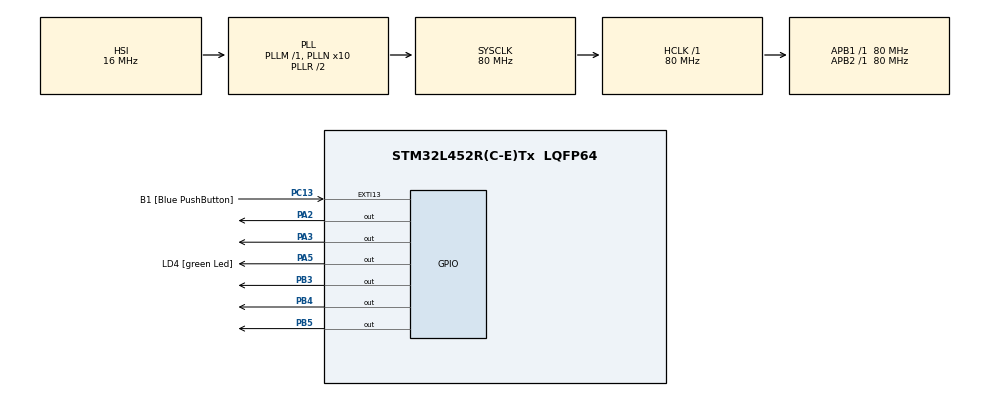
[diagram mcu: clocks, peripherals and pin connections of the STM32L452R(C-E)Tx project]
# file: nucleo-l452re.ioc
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Mcu.Family=STM32L4
Mcu.Name=STM32L452R(C-E)Tx
Mcu.Package=LQFP64
NVIC.PriorityGroup=NVIC_PRIORITYGROUP_4
PA13\ (JTMS/SWDIO).GPIO_Label=TMS
PA13\ (JTMS/SWDIO).Mode=Serial_Wire
PA13\ (JTMS/SWDIO).Signal=SYS_JTMS-SWDIO
PA14\ (JTCK/SWCLK).GPIO_Label=TCK
PA14\ (JTCK/SWCLK).Mode=Serial_Wire
PA14\ (JTCK/SWCLK).Signal=SYS_JTCK-SWCLK
PA2.Signal=GPIO_Output
PA3.Signal=GPIO_Output
PA5.GPIO_Label=LD4 [green Led]
PA5.GPIO_ModeDefaultOutputPP=GPIO_MODE_OUTPUT_PP
PA5.GPIO_PuPd=GPIO_NOPULL
PA5.GPIO_Speed=GPIO_SPEED_FREQ_LOW
PA5.Signal=GPIO_Output
PB3\ (JTDO/TRACESWO).Signal=GPIO_Output
PB4\ (NJTRST).Signal=GPIO_Output
PB5.Signal=GPIO_Output
PC13.GPIO_Label=B1 [Blue PushButton]
PC13.GPIO_ModeDefaultEXTI=GPIO_MODE_IT_FALLING
PC13.GPIO_PuPd=GPIO_NOPULL
PC13.Signal=GPXTI13
PC14-OSC32_IN\ (PC14).Mode=LSE-External-Oscillator
PC14-OSC32_IN\ (PC14).Signal=RCC_OSC32_IN
PC15-OSC32_OUT\ (PC15).Mode=LSE-External-Oscillator
PC15-OSC32_OUT\ (PC15).Signal=RCC_OSC32_OUT
PH0-OSC_IN\ (PH0).Signal=RCC_OSC_IN
PH1-OSC_OUT\ (PH1).Signal=RCC_OSC_OUT
ProjectManager.HeapSize=0x200
ProjectManager.StackSize=0x400
ProjectManager.TargetToolchain=Makefile
RCC.ADCFreq_Value=64000000
RCC.AHBFreq_Value=80000000
RCC.APB1Freq_Value=80000000
RCC.APB1TimFreq_Value=80000000
RCC.APB2Freq_Value=80000000
RCC.APB2TimFreq_Value=80000000
RCC.CortexFreq_Value=80000000
RCC.HCLKFreq_Value=80000000
RCC.HSE_VALUE=8000000
RCC.HSI48_VALUE=48000000
RCC.HSI_VALUE=16000000
RCC.MSI_VALUE=4000000
RCC.PLLN=10
RCC.PLLSourceVirtual=RCC_PLLSOURCE_HSI
RCC.PREFETCH_ENABLE=1
RCC.SYSCLKFreq_VALUE=80000000
RCC.SYSCLKSource=RCC_SYSCLKSOURCE_PLLCLK
RCC.USBFreq_Value=64000000
RCC.VCOOutputFreq_Value=160000000
board=NUCLEO-L452RE

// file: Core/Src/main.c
/* USER CODE BEGIN Header */
/**
  ******************************************************************************
  * @file           : main.c
  * @brief          : Main program body
  ******************************************************************************
  * @attention
  *
  * <h2><center>&copy; Copyright (c) 2021 STMicroelectronics.
  * All rights reserved.</center></h2>
  *
  * This software component is licensed by ST under BSD 3-Clause license,
  * the "License"; You may not use this file except in compliance with the
  * License. You may obtain a copy of the License at:
  *                        opensource.org/licenses/BSD-3-Clause
  *
  ******************************************************************************
  */
/* USER CODE END Header */
#include "main.h"

/* USER CODE BEGIN Includes */
#include "stm32l452xx.h"
#include "stm32l4xx_hal.h"

#include "stspin220.h"
#include "SEGGER_RTT.h"
/* USER CODE END Includes */

/* USER CODE BEGIN PM */
#define print(...) SEGGER_RTT_printf(0, __VA_ARGS__)
/* USER CODE END PM */

void SystemClock_Config(void);
static void MX_GPIO_Init(void);

int main(void)
{

  /* MCU Configuration--------------------------------------------------------*/

  /* Reset of all peripherals, Initializes the Flash interface and the Systick. */
  HAL_Init();

  /* Configure the system clock */
  SystemClock_Config();

  /* Initialize all configured peripherals */
  MX_GPIO_Init();
  /* USER CODE BEGIN 2 */

  /* Initial pins declarations */
  STSPIN220_PinsTypeDef myPin = {
    .pinStandbyResetPort    = GPIOB,
    .pinStandbyResetPin     = GPIO_PIN_4,
    .pinMode1Port           = GPIOA,
    .pinMode1Pin            = GPIO_PIN_3,
    .pinMode2Port           = GPIOA,
    .pinMode2Pin            = GPIO_PIN_2,
    .pinMode3StepClockPort  = GPIOB,
    .pinMode3StepClockPin   = GPIO_PIN_3,
    .pinMode4DirectionPort  = GPIOB,
    .pinMode4DirectionPin   = GPIO_PIN_5,
  };

  /* Initialize the stepper motor driver module */
  mySTSPIN220.api->init(&mySTSPIN220, &myPin, MODE_1P2_STEP);

  /* Check the step mode and the step period */
  print("Step Mode: %d\n", mySTSPIN220.api->getStepMode(&mySTSPIN220));
  print("Step Period: %d\n", mySTSPIN220.api->getStepPeriod(&mySTSPIN220));
  /* USER CODE END 2 */

  /* Infinite loop */
  while (1) {

    /* USER CODE BEGIN 3 */
    /* Run 4096 steps clockwise */
    mySTSPIN220.api->runSteps(&mySTSPIN220, DEFAULT_STEPS_PER_REV * 2, CLOCKWISE);

    /* Change the running direction */
    mySTSPIN220.api->setDirection(&mySTSPIN220, ~(mySTSPIN220.api->getDirection(&mySTSPIN220)));

    /* Run 4096 steps counter-clockwise */
    mySTSPIN220.api->runSteps(&mySTSPIN220, DEFAULT_STEPS_PER_REV * 2, mySTSPIN220.api->getDirection(&mySTSPIN220));

    /* Set the new step mode */
    mySTSPIN220.api->setStepMode(&mySTSPIN220, MODE_FULL_STEP);

    /* Run 7 revolutions */
    mySTSPIN220.api->runRevolutions(&mySTSPIN220, 7, mySTSPIN220.api->getDirection(&mySTSPIN220));

    /* Do nothing infinitely */
    while (1) {
      HAL_Delay(1000);
    }
  }
  /* USER CODE END 3 */
}

void SystemClock_Config(void)
{
  RCC_OscInitTypeDef RCC_OscInitStruct = {0};
  RCC_ClkInitTypeDef RCC_ClkInitStruct = {0};

  /** Initializes the RCC Oscillators according to the specified parameters
  * in the RCC_OscInitTypeDef structure.
  */
  RCC_OscInitStruct.OscillatorType = RCC_OSCILLATORTYPE_HSI;
  RCC_OscInitStruct.HSIState = RCC_HSI_ON;
  RCC_OscInitStruct.HSICalibrationValue = RCC_HSICALIBRATION_DEFAULT;
  RCC_OscInitStruct.PLL.PLLState = RCC_PLL_ON;
  RCC_OscInitStruct.PLL.PLLSource = RCC_PLLSOURCE_HSI;
  RCC_OscInitStruct.PLL.PLLM = 1;
  RCC_OscInitStruct.PLL.PLLN = 10;
  RCC_OscInitStruct.PLL.PLLP = RCC_PLLP_DIV7;
  RCC_OscInitStruct.PLL.PLLQ = RCC_PLLQ_DIV2;
  RCC_OscInitStruct.PLL.PLLR = RCC_PLLR_DIV2;
  if (HAL_RCC_OscConfig(&RCC_OscInitStruct) != HAL_OK)
  {
    Error_Handler();
  }
  /** Initializes the CPU, AHB and APB buses clocks
  */
  RCC_ClkInitStruct.ClockType = RCC_CLOCKTYPE_HCLK|RCC_CLOCKTYPE_SYSCLK
                              |RCC_CLOCKTYPE_PCLK1|RCC_CLOCKTYPE_PCLK2;
  RCC_ClkInitStruct.SYSCLKSource = RCC_SYSCLKSOURCE_PLLCLK;
  RCC_ClkInitStruct.AHBCLKDivider = RCC_SYSCLK_DIV1;
  RCC_ClkInitStruct.APB1CLKDivider = RCC_HCLK_DIV1;
  RCC_ClkInitStruct.APB2CLKDivider = RCC_HCLK_DIV1;

  if (HAL_RCC_ClockConfig(&RCC_ClkInitStruct, FLASH_LATENCY_4) != HAL_OK)
  {
    Error_Handler();
  }
  /** Configure the main internal regulator output voltage
  */
  if (HAL_PWREx_ControlVoltageScaling(PWR_REGULATOR_VOLTAGE_SCALE1) != HAL_OK)
  {
    Error_Handler();
  }
}

static void MX_GPIO_Init(void)
{
  GPIO_InitTypeDef GPIO_InitStruct = {0};

  /* GPIO Ports Clock Enable */
  __HAL_RCC_GPIOC_CLK_ENABLE();
  __HAL_RCC_GPIOH_CLK_ENABLE();
  __HAL_RCC_GPIOA_CLK_ENABLE();
  __HAL_RCC_GPIOB_CLK_ENABLE();

  /*Configure GPIO pin Output Level */
  HAL_GPIO_WritePin(GPIOA, GPIO_PIN_2|GPIO_PIN_3|LD4_Pin, GPIO_PIN_RESET);

  /*Configure GPIO pin Output Level */
  HAL_GPIO_WritePin(GPIOB, GPIO_PIN_3|GPIO_PIN_4|GPIO_PIN_5, GPIO_PIN_RESET);

  /*Configure GPIO pin : B1_Pin */
  GPIO_InitStruct.Pin = B1_Pin;
  GPIO_InitStruct.Mode = GPIO_MODE_IT_FALLING;
  GPIO_InitStruct.Pull = GPIO_NOPULL;
  HAL_GPIO_Init(B1_GPIO_Port, &GPIO_InitStruct);

  /*Configure GPIO pins : PA2 PA3 LD4_Pin */
  GPIO_InitStruct.Pin = GPIO_PIN_2|GPIO_PIN_3|LD4_Pin;
  GPIO_InitStruct.Mode = GPIO_MODE_OUTPUT_PP;
  GPIO_InitStruct.Pull = GPIO_NOPULL;
  GPIO_InitStruct.Speed = GPIO_SPEED_FREQ_LOW;
  HAL_GPIO_Init(GPIOA, &GPIO_InitStruct);

  /*Configure GPIO pins : PB3 PB4 PB5 */
  GPIO_InitStruct.Pin = GPIO_PIN_3|GPIO_PIN_4|GPIO_PIN_5;
  GPIO_InitStruct.Mode = GPIO_MODE_OUTPUT_PP;
  GPIO_InitStruct.Pull = GPIO_NOPULL;
  GPIO_InitStruct.Speed = GPIO_SPEED_FREQ_LOW;
  HAL_GPIO_Init(GPIOB, &GPIO_InitStruct);

}

void Error_Handler(void)
{
  __disable_irq();
  while (1)
  {
  }
}

/************************ (C) COPYRIGHT STMicroelectronics *****END OF FILE****/
